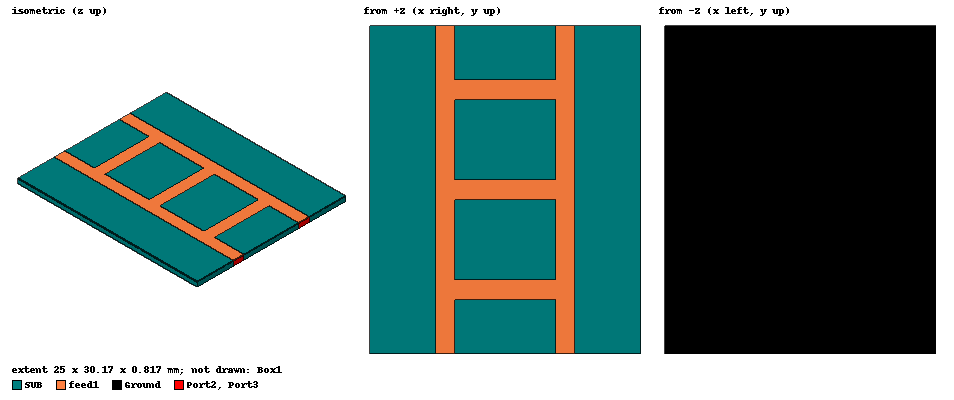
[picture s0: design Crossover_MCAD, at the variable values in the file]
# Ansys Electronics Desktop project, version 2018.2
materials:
  copper: permeability=0.999991 conductivity=58000000
  Rogers RO4003 (tm): permittivity=3.55 dielectric_loss_tangent=0.0027
  vacuum: permittivity=1

design Crossover_MCAD (HFSS, DrivenModal, model units mm)
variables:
  W = 25mm
  L = 2*L_feed+2*L_50+W_50
  H = 0.8mm
  L_feed = 5mm
  W_50 = 1.76771mm
  L_50 = 9.2mm  # optimise 4.8mm..14.4mm
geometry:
  SUB [Rogers RO4003 (tm)] = box(corner=(0mm, 0mm, 0mm), size=(W, L, H))
  Ground [Rogers RO4003 (tm)] = object_from(SUB.face(-z))
  feed1 [copper] = rectangle(corner=(W/2-L_50/2, 0mm, H), x_size=-W_50, y_size=L_feed+W_50/2)
  feed4 = rectangle(corner=(W/2+L_50/2, 0mm, H), x_size=W_50, y_size=L_feed+W_50/2)
  parallel1 = rectangle(corner=(W/2-L_50/2, L_feed, H), x_size=L_50, y_size=W_50)
  series1_1 = rectangle(corner=(W/2-L_50/2, L_feed+W_50/2, H), x_size=-W_50, y_size=L_50)
  series1_2 = rectangle(corner=(W/2+L_50/2, L_feed+W_50/2, H), x_size=W_50, y_size=L_50)
  parallel2 = rectangle(corner=(W/2-L_50/2, L_feed+L_50+W_50/2-W_50/2, H), x_size=L_50, y_size=W_50)
  feed2 = rectangle(corner=(W/2-L_50/2, L, H), x_size=-W_50, y_size=-L_feed-W_50/2)
  feed3 = rectangle(corner=(W/2+L_50/2, L, H), x_size=W_50, y_size=-L_feed-W_50/2)
  Port1 = rectangle(corner=(W/2-L_50/2, 0mm, H), z_size=-H, x_size=-W_50)
  Port4 = rectangle(corner=(W/2+L_50/2, 0mm, H), z_size=-H, x_size=W_50)
  Port3 = rectangle(corner=(W/2+L_50/2, L, H), z_size=-H, x_size=W_50)
  Port2 = rectangle(corner=(W/2-L_50/2, L, H), z_size=-H, x_size=-W_50)
  Box1 [vacuum] = box(corner=(-10mm, -10mm, -10mm), size=(20mm+W, 20mm+L, 20mm))
  series2_1 = rectangle(corner=(W/2-L_50/2, L_feed+W_50/2+L_50, H), x_size=-W_50, y_size=L_50)
  series2_2 = rectangle(corner=(W/2+L_50/2, L_feed+W_50/2+L_50, H), x_size=W_50, y_size=L_50)
  parallel3 = rectangle(corner=(W/2-L_50/2, L_feed+2*L_50, H), x_size=L_50, y_size=W_50)
  feed1.unite(feed2, feed3, feed4, parallel1, parallel2, parallel3, series1_1, series1_2, series2_1, series2_2)
  feed1.thicken(0.017mm)
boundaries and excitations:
  PerfE1: Perfect E Objects=Ground
  Rad1: Radiation Objects=Box1
  1: Lumped Port Objects=Port1 Modes{Mode1{IntLine{middle of Port1.edge(z opposite corner) -> middle of Port1.edge(z at corner)} CharImp=Zpi RenormImp=50ohm}} Impedance=50ohm
  4: Lumped Port Objects=Port4 Modes{Mode1{IntLine{middle of Port4.edge(z opposite corner) -> middle of Port4.edge(z at corner)} CharImp=Zpi RenormImp=50ohm}} Impedance=50ohm
  2: Lumped Port Objects=Port2 Modes{Mode1{IntLine{middle of Port2.edge(z opposite corner) -> middle of Port2.edge(z at corner)} CharImp=Zpi RenormImp=50ohm}} Impedance=50ohm
  3: Lumped Port Objects=Port3 Modes{Mode1{IntLine{middle of Port3.edge(z opposite corner) -> middle of Port3.edge(z at corner)} CharImp=Zpi RenormImp=50ohm}} Impedance=50ohm
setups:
  Setup1: HfssDriven Frequency=5GHz MaxDeltaS=0.02 MaximumPasses=12 MinimumPasses=1 MinimumConvergedPasses=1 PercentRefinement=30 BasisOrder=1 PortAccuracy=2
    sweep Sweep: 3GHz to 7GHz step 0.01GHz; Type=Fast SaveFields
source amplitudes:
  1:1: 1W 0deg
  4:1, 2:1, 3:1: 0W 0deg
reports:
  S-Parameters: dB(S(1,1)), dB(S(2,1)), dB(S(3,1)), dB(S(4,1)) vs Freq on Setup1 : Sweep; markers MX1 at x=5.0014981e+09, MY1 at y=-19.9

design Crossover (Circuit)
options: SParamCircuitDef IntegrationMethod=FFT
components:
  A52 = MS_TRL(W=1.76772mm P=5mm)
  A53 = MS_TEEC(W1=1.76772mm W2=1.76772mm W3=1.76772mm)
  A1 = MS_TRL(W=1.76772mm P=8.95112mm)
  A2 = MS_TEEC(W1=1.76772mm W2=1.76772mm W3=1.76772mm)
  A3 = MS_TRL(W=1.76772mm P=5mm)
  A6 = MS_TRL(W=1.76772mm P=8.95112mm)
  A7 = MS_TEEC(W1=1.76772mm W2=1.76772mm W3=1.76772mm)
  A8 = MS_TRL(W=1.76772mm P=8.95112mm)
  A9 = MS_TEEC(W1=1.76772mm W2=1.76772mm W3=1.76772mm)
  A10 = MS_TRL(W=1.76772mm P=8.95112mm)
  A5 = MS_TRL(W=1.76772mm P=5mm)
  A4 = MS_TRL(W=1.76772mm P=5mm)
  A11 = MS_TRL(W=1.76772mm P=8.95112mm)
  A12 = MS_TEEC(W1=1.76772mm W2=1.76772mm W3=1.76772mm)
  A13 = MS_TRL(W=1.76772mm P=8.95112mm)
  A14 = MS_TEEC(W1=1.76772mm W2=1.76772mm W3=1.76772mm)
  A15 = MS_TRL(W=1.76772mm P=8.95112mm)
  port Port1 pnum=1 rz=50ohm iz=0ohm noisetemp=16.85 noisetemporig=16.85cel
  port Port2 pnum=2 rz=50ohm iz=0ohm noisetemp=16.85 noisetemporig=16.85cel
  port Port3 pnum=3 rz=50ohm iz=0ohm noisetemp=16.85 noisetemporig=16.85cel
  port Port4 pnum=4 rz=50ohm iz=0ohm noisetemp=16.85 noisetemporig=16.85cel
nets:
  net_20: A53.0, A52.1
  net_21: A53.2, A1.1
  net_22: A1.0, A2.2
  net_23: A3.1, A2.1
  net_27: A6.0, A2.0
  net_29: A6.1, A7.1
  net_30: A7.2, A8.0
  net_32: A9.2, A8.1
  net_33: A53.1, A10.0
  net_34: A9.0, A10.1
  net_35: A11.0, A7.0
  net_36: A12.0, A5.0
  net_37: A11.1, A12.1
  net_38: A12.2, A13.0
  net_39: A4.0, A14.1
  net_40: A13.1, A14.2
  net_41: A15.0, A9.1
  net_42: A15.1, A14.0
  Port1: A52.0
  Port2: A4.1
  Port3: A5.1
  Port4: A3.0
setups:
  LinearFrequency: LinearFrequencyData(false, 0.1, false, "", false) SweepDefinition{Variable=F Data="LIN 3GHz 7GHz 0.005GHz"}
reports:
  S-Parameters: dB(S(Port1,Port1)), dB(S(Port2,Port1)), dB(S(Port3,Port1)), dB(S(Port4,Port1)) vs F on LinearFrequency : LinearFrequency; markers MX1 at x=5.2274742e+09, MY1 at y=-20
  S Parameter Plot 1: ang_deg(S(Port3,Port1)) vs F on LinearFrequency : LinearFrequency; markers MX1 at x=4.998513e+09
